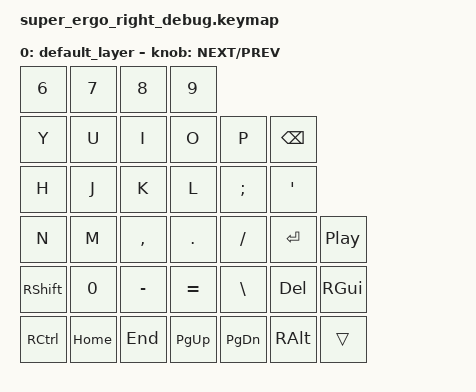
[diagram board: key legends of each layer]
#include <behaviors.dtsi>
#include <dt-bindings/zmk/keys.h>

/ {
    keymap {
        compatible = "zmk,keymap";

        default_layer {
            bindings = <
            // Row 0: 4 keys
                &kp N6      &kp N7      &kp N8      &kp N9
            // Row 1: 6 keys
                &kp Y       &kp U       &kp I       &kp O       &kp P       &kp BSPC
            // Row 2: 6 keys
                &kp H       &kp J       &kp K       &kp L       &kp SEMI    &kp SQT
            // Row 3: 6 keys + encoder button
                &kp N       &kp M       &kp COMMA   &kp DOT     &kp FSLH    &kp RET     &kp C_PP
            // Row 4: 7 keys
                &kp RSHFT   &kp N0      &kp MINUS   &kp EQUAL   &kp BSLH    &kp DEL     &kp RGUI
            // Row 5: 7 keys
                &kp RCTRL   &kp HOME    &kp END     &kp PG_UP   &kp PG_DN   &kp RALT    &trans
            >;

            sensor-bindings = <&inc_dec_kp C_NEXT C_PREV>;
        };
    };
};
